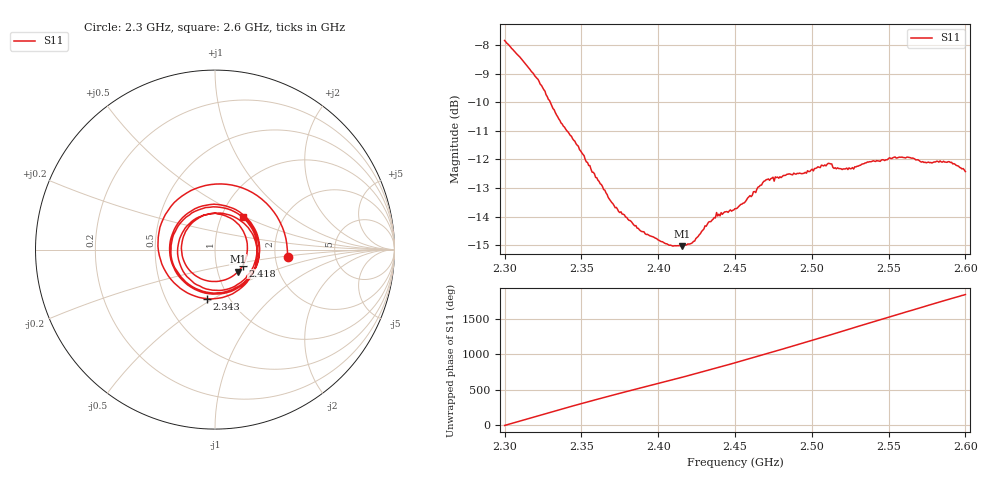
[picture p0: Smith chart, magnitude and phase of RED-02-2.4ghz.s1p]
! NanoVNA-App
! Date: 2026-05-22 18:32:15
! Start: 2.3GHz Stop: 2.6GHz Points: 401
! S-Parameter data: F S11
# Hz S RI R 50
!  Frequency  S11_Real  S11_Imag
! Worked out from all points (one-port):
!   401 points, 2.3 GHz to 2.6 GHz, reference 50 ohm
!   lowest |S11| = -15.0 dB at 2.416 GHz (marker M1), VSWR 1.43, Z = 62.5 - j15.8 ohm
!   |S11| at or under -10 dB: 2.33 GHz to end of sweep
!   S11 on the Smith chart (normalised r, x): 2.3 GHz: 2.34, -0.22; 2.343 GHz: 0.79, -0.47; 2.418 GHz: 1.34, -0.25; 2.6 GHz: 1.26, +0.49
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2.3e9  0.404 -0.0389
2.309e9  0.2355 0.3004
2.31575e9  -0.0258 0.3621
2.327e9  -0.3125 0.0933
2.3375e9  -0.1922 -0.2168
2.34275e9  -0.0438 -0.2733
2.35775e9  0.2348 -0.0422
2.375e9  -0.00162 0.2029
2.39225e9  -0.1846 -0.0198
2.4125e9  0.0869 -0.1548
2.4155e9  0.1284 -0.1221
2.41775e9  0.1539 -0.0895
2.4365e9  0.0316 0.1963
2.45e9  -0.1966 0.0618
2.45825e9  -0.177 -0.1222
2.46875e9  0.0414 -0.2263
2.47925e9  0.2272 -0.0572
2.4875e9  0.185 0.1468
2.49725e9  -0.0525 0.2343
2.5085e9  -0.2447 0.0229
2.5175e9  -0.1446 -0.1943
2.525e9  0.0562 -0.2354
2.537e9  0.2482 0.0146
2.54825e9  0.058 0.2441
2.5625e9  -0.2492 0.0472
2.579e9  0.0286 -0.2467
2.5895e9  0.2389 -0.07
2.6e9  0.1559 0.1815
